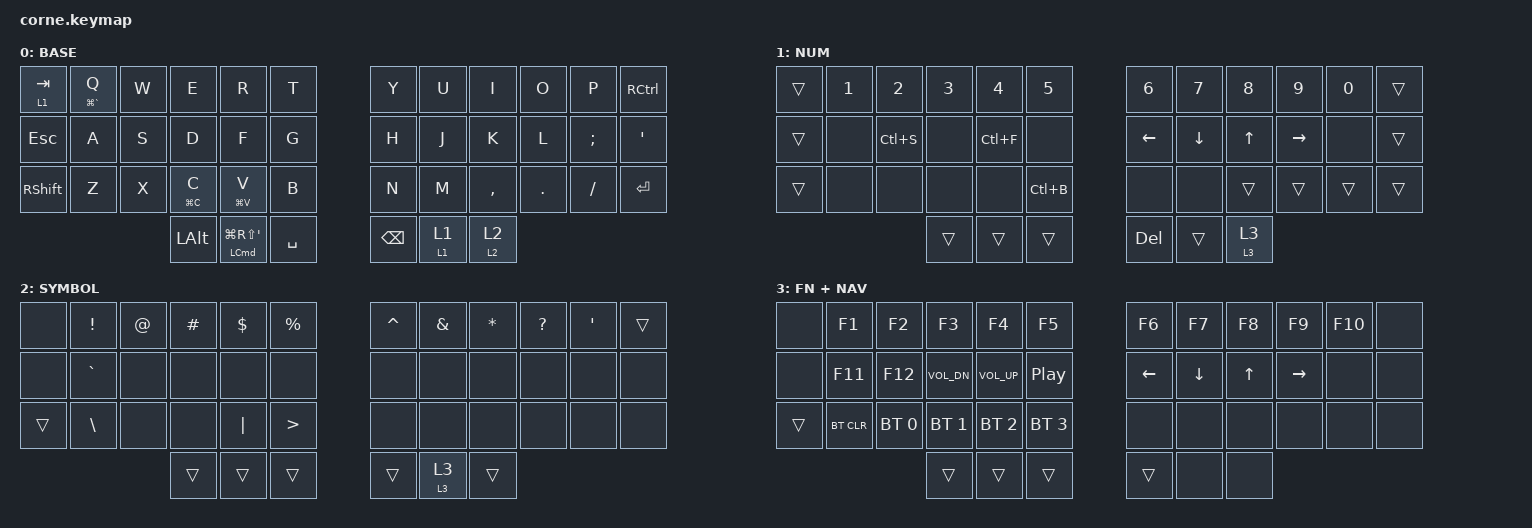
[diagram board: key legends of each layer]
/*
 * Copyright (c) 2020 The ZMK Contributors
 *
 * SPDX-License-Identifier: MIT
 */

#include <behaviors.dtsi>
#include <dt-bindings/zmk/bt.h>
#include <dt-bindings/zmk/keys.h>

/ {
    behaviors {
        // Override sticky layer default timeout (wait indefinitely until key press)

        /omit-if-no-ref/

        sl: sticky_layer {
            compatible = "zmk,behavior-sticky-key";
            #binding-cells = <1>;
            bindings = <&mo>;
            release-after-ms = <5000>;  // 5 seconds timeout (increase if needed)
            quick-release;              // Release immediately after key press
        };

        // Hold-tap behavior: tap = one-shot layer (sl), hold = momentary layer (mo)

        ht_layer: hold_tap_layer {
            compatible = "zmk,behavior-hold-tap";
            #binding-cells = <2>;
            flavor = "tap-preferred";
            tapping-term-ms = <200>;
            quick-tap-ms = <150>;
            bindings = <&mo>, <&sl>;
        };

        // Hold-tap behavior for Tab: tap = TAB, hold = activate NUM layer (layer 1)

        ht_tab: hold_tap_tab {
            compatible = "zmk,behavior-hold-tap";
            #binding-cells = <2>;
            flavor = "tap-preferred";
            tapping-term-ms = <200>;
            quick-tap-ms = <150>;
            bindings = <&mo>, <&kp>;
        };

        long_press: long_press {
            compatible = "zmk,behavior-hold-tap";
            label = "LONG_PRESS";
            bindings = <&kp>, <&kp>;

            #binding-cells = <2>;
            tapping-term-ms = <350>;
            flavor = "tap-preferred";
        };

        hmr_r: hmr_r {
            compatible = "zmk,behavior-hold-tap";
            label = "HMR_R";
            bindings = <&kp>, <&kp>;

            #binding-cells = <2>;
            tapping-term-ms = <200>;
            hold-while-undecided;
            hold-trigger-on-release;
            flavor = "tap-preferred";
            hold-trigger-key-positions = <0 1 5 12 13 14 15 16 17 24 25 26 27 28 29 36 37 38 2 3 4>;
        };

        hmr_l: hmr_l {
            compatible = "zmk,behavior-hold-tap";
            label = "HMR_L";
            bindings = <&kp>, <&kp>;

            #binding-cells = <2>;
            tapping-term-ms = <200>;
            hold-while-undecided;
            hold-trigger-on-release;
            flavor = "tap-preferred";
            hold-trigger-key-positions = <6 7 8 9 10 11 18 19 20 21 22 23 30 31 32 33 34 35 39 40 41>;
        };

        hold_prefer: hold_prefer {
            compatible = "zmk,behavior-hold-tap";
            label = "HOLD_PREFER";
            bindings = <&kp>, <&kp>;

            #binding-cells = <2>;
            tapping-term-ms = <150>;
            hold-while-undecided;
        };
    };

    combos {
        compatible = "zmk,combos";

        open_parent {
            bindings = <&kp LEFT_PARENTHESIS>;
            key-positions = <4 5>;
        };

        close_parent {
            bindings = <&kp RIGHT_PARENTHESIS>;
            key-positions = <6 7>;
        };

        open_brace {
            bindings = <&kp LEFT_BRACE>;
            key-positions = <16 17>;
        };

        close_brace {
            bindings = <&kp RIGHT_BRACE>;
            key-positions = <18 19>;
        };

        open_bracket {
            bindings = <&kp LEFT_BRACKET>;
            key-positions = <28 29>;
        };

        close_bracket {
            bindings = <&kp RIGHT_BRACKET>;
            key-positions = <30 31>;
        };

        minus {
            bindings = <&kp MINUS>;
            key-positions = <15 16>;
        };

        underscore {
            bindings = <&kp UNDERSCORE>;
            key-positions = <3 4>;
        };

        equal {
            bindings = <&kp EQUAL>;
            key-positions = <19 20>;
        };

        plus {
            bindings = <&kp PLUS>;
            key-positions = <7 8>;
        };
    };

    keymap {
        compatible = "zmk,keymap";

        default_layer {
            label = "BASE";

            //╭──────────┬──────────┬──────────┬──────────┬──────────┬──────────╮   ╭──────────┬──────────┬──────────┬──────────┬──────────┬──────────╮
            //│  TAB     │  Q       │  W       │  E       │  R       │  T       │   │  Y       │  U       │  I       │  O       │  P       │  CTRL    │
            //├──────────┼──────────┼──────────┼──────────┼──────────┼──────────┤   ├──────────┼──────────┼──────────┼──────────┼──────────┼──────────┤
            //│  ESC     │  A       │  S       │  D       │  F       │  G       │   │  H       │  J       │  K       │  L       │  ;       │  '       │
            //├──────────┼──────────┼──────────┼──────────┼──────────┼──────────┤   ├──────────┼──────────┼──────────┼──────────┼──────────┼──────────┤
            //│  SHIFT   │  Z       │  X       │  C       │  V       │  B       │   │  N       │  M       │  ,       │  .       │  /       │ ENTER    │
            //╰──────────┴──────────┴──────────┼──────────┼──────────┼──────────┤   ├──────────┼──────────┼──────────┼──────────┴──────────┴──────────╯
            //                                 │  ALT     │  GUI     │  SPACE   │   │  BSPC    │  OSL1    │  OSL2    │
            //                                 ╰──────────┴──────────┴──────────╯   ╰──────────┴──────────┴──────────╯

            bindings = <
&ht_tab 1 TAB  &long_press LG(GRAVE) Q  &kp W  &kp E                &kp R                                           &kp T        &kp Y     &kp U          &kp I          &kp O    &kp P     &kp RCTRL
&kp ESC        &kp A                    &kp S  &kp D                &kp F                                           &kp G        &kp H     &kp J          &kp K          &kp L    &kp SEMI  &kp SQT
&kp RSHFT      &kp Z                    &kp X  &long_press LG(C) C  &long_press LG(V) V                             &kp B        &kp N     &kp M          &kp COMMA      &kp DOT  &kp FSLH  &kp RET
                                               &kp LALT             &hold_prefer LEFT_COMMAND LG(RS(SINGLE_QUOTE))  &kp SPACE    &kp BSPC  &ht_layer 1 1  &ht_layer 2 2
            >;
        };

        number_layer {
            label = "NUM";

            //╭──────────┬──────────┬──────────┬──────────┬──────────┬──────────╮   ╭──────────┬──────────┬──────────┬──────────┬──────────┬──────────╮
            //│  ▽       │  `       │          │          │          │          │   │          │  -       │  =       │  [       │  ]       │  ▽ CTRL  │
            //├──────────┼──────────┼──────────┼──────────┼──────────┼──────────┤   ├──────────┼──────────┼──────────┼──────────┼──────────┼──────────┤
            //│  ▽       │  1       │  2       │  3       │  4       │  5       │   │  6       │  7       │  8       │  9       │  0       │  ▽       │
            //├──────────┼──────────┼──────────┼──────────┼──────────┼──────────┤   ├──────────┼──────────┼──────────┼──────────┼──────────┼──────────┤
            //│  ▽       │  \       │          │          │          │          │   │          │          │  ▽       │  ▽       │  ▽       │  ▽       │
            //╰──────────┴──────────┴──────────┼──────────┼──────────┼──────────┤   ├──────────┼──────────┼──────────┼──────────┴──────────┴──────────╯
            //                                 │  ▽       │  ▽       │  ▽       │   │  ▽ BSPC  │  ▽ OSL1  │  OSL3    │
            //                                 ╰──────────┴──────────┴──────────╯   ╰──────────┴──────────┴──────────╯

            bindings = <
&trans  &kp N1  &kp N2     &kp N3  &kp N4     &kp N5       &kp N6          &kp N7          &kp N8         &kp N9     &kp N0  &trans
&trans  &none   &kp LC(S)  &none   &kp LC(F)  &none        &kp LEFT_ARROW  &kp DOWN_ARROW  &kp UP_ARROW   &kp RIGHT  &none   &trans
&trans  &none   &none      &none   &none      &kp LC(B)    &none           &none           &trans         &trans     &trans  &trans
                           &trans  &trans     &trans       &kp DEL         &trans          &ht_layer 3 3
            >;
        };

        symbol_layer {
            label = "SYMBOL";

            //╭──────────┬──────────┬──────────┬──────────┬──────────┬──────────╮   ╭──────────┬──────────┬──────────┬──────────┬──────────┬──────────╮
            //│          │  !       │  @       │  #       │  $       │  %       │   │  ^       │  &       │  *       │  ?       │  '       │          │
            //├──────────┼──────────┼──────────┼──────────┼──────────┼──────────┤   ├──────────┼──────────┼──────────┼──────────┼──────────┼──────────┤
            //│          │  +       │  =       │  (       │  )       │  "       │   │  :       │  ]       │  [       │  }       │  {       │          │
            //├──────────┼──────────┼──────────┼──────────┼──────────┼──────────┤   ├──────────┼──────────┼──────────┼──────────┼──────────┼──────────┤
            //│          │  <       │  |       │  -       │  >       │  \       │   │  `       │  _       │  /       │  ~       │  ;       │          │
            //╰──────────┴──────────┴──────────┼──────────┼──────────┼──────────┤   ├──────────┼──────────┼──────────┼──────────┴──────────┴──────────╯
            //                                 │          │          │          │   │  ▽ BSPC  │  ▽ OSL1  │          │
            //                                 ╰──────────┴──────────┴──────────╯   ╰──────────┴──────────┴──────────╯

            bindings = <
&none   &kp EXCL       &kp AT  &kp HASH  &kp DLLR  &kp PRCNT           &kp CARET  &kp AMPS       &kp ASTRK  &kp QMARK  &kp SQT  &trans
&none   &kp GRAVE      &none   &none     &none     &none               &none      &none          &none      &none      &none    &none
&trans  &kp BACKSLASH  &none   &none     &kp PIPE  &kp GREATER_THAN    &none      &none          &none      &none      &none    &none
                               &trans    &trans    &trans              &trans     &ht_layer 3 3  &trans
            >;
        };

        fn_layer {
            label = "FN + NAV";

            //╭──────────┬──────────┬──────────┬──────────┬──────────┬──────────╮   ╭──────────┬──────────┬──────────┬──────────┬──────────┬──────────╮
            //│  BT CLR  │  BT 0    │  BT 1    │  BT 2    │  BT 3    │  BT 4    │   │          │          │          │          │  PG UP   │  HOME    │
            //├──────────┼──────────┼──────────┼──────────┼──────────┼──────────┤   ├──────────┼──────────┼──────────┼──────────┼──────────┼──────────┤
            //│          │          │  F5      │  F6      │  F7      │  F8      │   │  ←       │  ↓       │  ↑       │  →       │          │  END     │
            //├──────────┼──────────┼──────────┼──────────┼──────────┼──────────┤   ├──────────┼──────────┼──────────┼──────────┼──────────┼──────────┤
            //│  ▽       │          │  F9      │  F10     │  F11     │  F12     │   │  PG DN   │  F1      │  F2      │  F3      │  F4      │          │
            //╰──────────┴──────────┴──────────┼──────────┼──────────┼──────────┤   ├──────────┼──────────┼──────────┼──────────┴──────────┴──────────╯
            //                                 │  ▽       │  ▽       │  ▽       │   │  ▽ BSPC  │  OSL3    │  ▽ OSL2  │
            //                                 ╰──────────┴──────────┴──────────╯   ╰──────────┴──────────┴──────────╯

            bindings = <
&none   &kp F1      &kp F2        &kp F3        &kp F4           &kp F5              &kp F6    &kp F7    &kp F8  &kp F9     &kp F10  &none
&none   &kp F11     &kp F12       &kp C_VOL_DN  &kp C_VOLUME_UP  &kp C_PLAY_PAUSE    &kp LEFT  &kp DOWN  &kp UP  &kp RIGHT  &none    &none
&trans  &bt BT_CLR  &bt BT_SEL 0  &bt BT_SEL 1  &bt BT_SEL 2     &bt BT_SEL 3        &none     &none     &none   &none      &none    &none
                                  &trans        &trans           &trans              &trans    &none     &none
            >;
        };
    };
};
